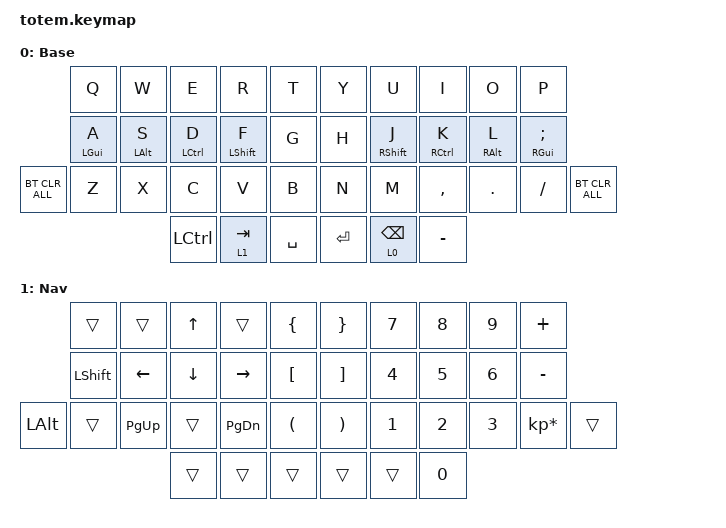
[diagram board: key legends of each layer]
//
//                                                        ▀▀▀▀▀     ▀▀▀▀▀          ▀▀█▀▀
//                                                        ▄▀▀▀▄  ▄  ▄▀▀▀▄  ▄  ▄▀▀▀▄  █  ▄▀▀▀▄
//                                                        █   █  █  █   █  █  █   █  █  █   █
//                                                         ▀▀▀   █   ▀▀▀   █   ▀▀▀   ▀   ▀▀▀
//                                                               █      ▄▄▄█▄▄▄    █   █  
//                                                               ▀      █  █  █     █▄█
//                                                             ▀▀▀▀▀    █  █  █      ▀
//                                                                      ▀  ▀  ▀
//
// ▄▄▄▄▄▄▄▄▄▄▄▄▄▄▄▄▄▄▄▄▄▄▄▄▄▄▄▄▄▄▄▄▄▄▄▄▄▄▄▄▄▄▄▄▄▄▄▄▄▄▄▄▄▄▄▄▄▄▄▄▄▄▄▄▄▄▄▄▄▄▄▄▄▄▄▄▄▄▄▄▄▄▄▄▄▄▄▄▄▄▄▄▄▄▄▄▄▄▄▄▄▄▄▄▄▄▄▄▄▄▄▄▄▄▄▄▄▄▄▄▄▄▄▄▄▄▄▄▄▄▄▄▄▄▄▄▄▄▄▄▄▄▄▄▄▄▄▄▄

#include <behaviors.dtsi>
#include <dt-bindings/zmk/bt.h>
#include <dt-bindings/zmk/keys.h>

#define Base        0
#define Media       1
#define Nav         2
#define Mouse       3
#define Sym         4
#define Num         5
#define Fun         6
#define Button      7
#define Game        8
#define Gameplus    9

&mt {
    quick-tap-ms = <100>;
    global-quick-tap;
    flavor = "tap-preferred";
    tapping-term-ms = <170>;
};

&lt {
    tapping-term-ms = <240>;
    flavor = "balanced";
    quick-tap-ms = <150>;
};

/ {
    behaviors {
        hm: homerow_mods {
            compatible = "zmk,behavior-hold-tap";
            label = "HOMEROW_MODS";
            #binding-cells = <2>;
            flavor = "tap-preferred";
            tapping-term-ms = <200>;
            quick-tap-ms = <125>;
            global-quick-tap;
            bindings = <&kp>, <&kp>;
        };
    };

    combos { compatible = "zmk,combos"; };

    keymap {
        compatible = "zmk,keymap";

        Base {
            label = "Base";
            bindings = <
                &kp Q       &kp W       &kp E        &kp R         &kp T        &kp Y    &kp U        &kp I        &kp O       &kp P
                &hm LGUI A  &hm LALT S  &hm LCTRL D  &hm LSHIFT F  &kp G        &kp H    &hm RSHFT J  &hm RCTRL K  &hm RALT L  &hm RGUI SEMICOLON
&bt BT_CLR_ALL  &kp Z       &kp X       &kp C        &kp V         &kp B        &kp N    &kp M        &kp COMMA    &kp DOT     &kp SLASH           &bt BT_CLR_ALL
                                        &kp LCTRL    &lt 1 TAB     &kp SPACE    &kp RET  &lt 0 BSPC   &kp MINUS
            >;
        };

        Nav {
            label = "Nav";
            bindings = <
              &trans          &trans       &kp UP_ARROW  &trans     &kp LBRC    &kp RBRC  &kp NUMBER_7  &kp NUMBER_8  &kp NUMBER_9  &kp PLUS
              &kp LEFT_SHIFT  &kp LEFT     &kp DOWN      &kp RIGHT  &kp LBKT    &kp RBKT  &kp NUMBER_4  &kp NUMBER_5  &kp NUMBER_6  &kp MINUS
&kp LEFT_ALT  &trans          &kp PAGE_UP  &trans        &kp PG_DN  &kp LPAR    &kp RPAR  &kp NUMBER_1  &kp NUMBER_2  &kp NUMBER_3  &kp KP_MULTIPLY  &trans
                                           &trans        &trans     &trans      &trans    &trans        &kp NUMBER_0
            >;
        };
    };
};
